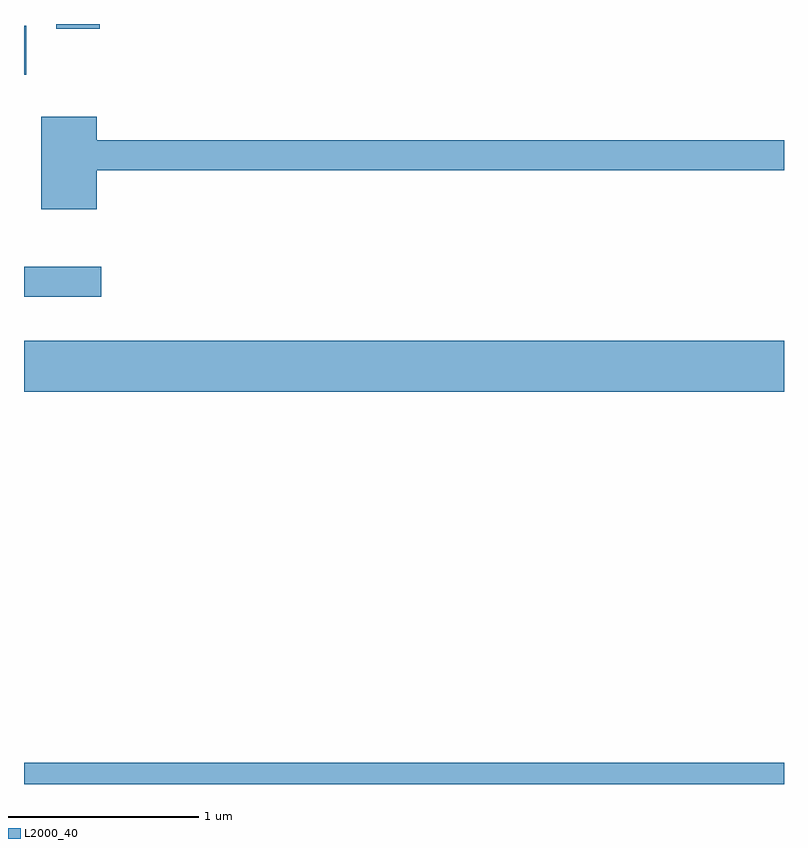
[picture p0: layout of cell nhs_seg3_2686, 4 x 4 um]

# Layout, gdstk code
import gdstk
lib = gdstk.Library(unit=1e-6, precision=1e-09)
def R(c, l, rs):  # rectangles x0, y0, x1, y1
    for r in rs: c.add(gdstk.rectangle(r[:2], r[2:], *l))
def P(c, l, *ps):  # polygons
    for p in ps: c.add(gdstk.Polygon(p, *l))
L2000_40 = (2000, 40)

nhs_seg3_2686 = lib.new_cell('nhs_seg3_2686')
R(nhs_seg3_2686, L2000_40, [(263.611,1183.892,267.611,1184.004), (263.611,1185.956,267.611,1186.224), (263.611,1186.456,264.018,1186.614), (263.611,1187.626,263.624,1187.884), (263.781,1187.866,264.009,1187.892)])
P(nhs_seg3_2686, L2000_40, [(263.994,1187.121),(267.611,1187.121),(267.611,1187.279),(263.994,1187.279),(263.994,1187.404),(263.701,1187.404),(263.701,1186.916),(263.994,1186.916)])

lib.write_gds('nhs_seg3_2686.gds')
